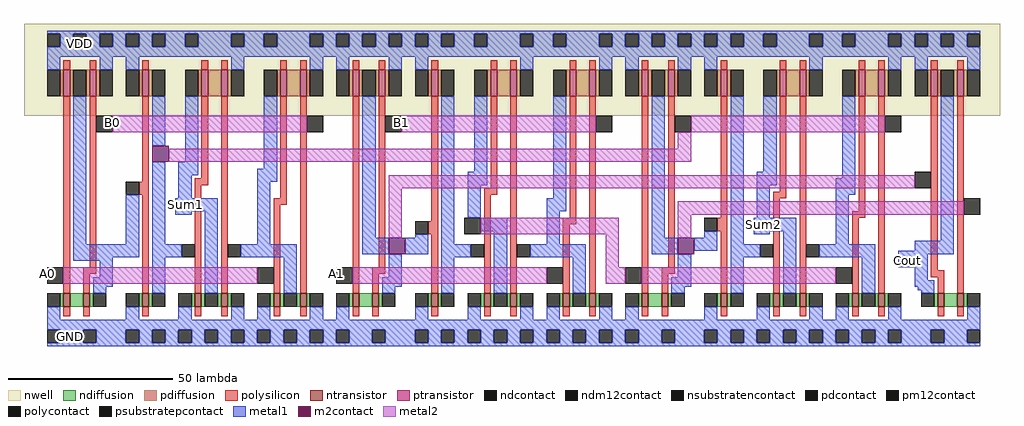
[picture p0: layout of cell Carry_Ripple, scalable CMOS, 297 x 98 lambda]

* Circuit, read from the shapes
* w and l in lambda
.subckt Carry_Ripple A0 A1 B0 B1 Cout GND Sum1 Sum2 VDD
M1 n1 A0 GND GND nfet w=4 l=2
M2 n2 B0 n1 GND nfet w=4 l=2
M3 n3 n2 GND GND nfet w=4 l=2
M4 Sum1 n3 GND GND nfet w=4 l=2
M5 GND n4 Sum1 GND nfet w=4 l=2
M6 n4 A0 GND GND nfet w=4 l=2
M7 GND B0 n4 GND nfet w=4 l=2
M8 n5 A1 GND GND nfet w=4 l=2
M9 n6 B1 n5 GND nfet w=4 l=2
M10 n7 n6 GND GND nfet w=4 l=2
M11 n8 n7 GND GND nfet w=4 l=2
M12 GND n9 n8 GND nfet w=4 l=2
M13 n9 A1 GND GND nfet w=4 l=2
M14 GND B1 n9 GND nfet w=4 l=2
M15 n10 n8 GND GND nfet w=4 l=2
M16 n11 n3 n10 GND nfet w=4 l=2
M17 n12 n11 GND GND nfet w=4 l=2
M18 Sum2 n12 GND GND nfet w=4 l=2
M19 GND n13 Sum2 GND nfet w=4 l=2
M20 n13 n8 GND GND nfet w=4 l=2
M21 GND n3 n13 GND nfet w=4 l=2
M22 n14 n6 Cout GND nfet w=4 l=2
M23 GND n11 n14 GND nfet w=4 l=2
M24 n2 A0 VDD VDD pfet w=8 l=2
M25 VDD B0 n2 VDD pfet w=8 l=2
M26 n3 n2 VDD VDD pfet w=8 l=2
M27 n15 n3 Sum1 VDD pfet w=8 l=2
M28 VDD n4 n15 VDD pfet w=8 l=2
M29 n16 A0 n4 VDD pfet w=8 l=2
M30 VDD B0 n16 VDD pfet w=8 l=2
M31 n6 A1 VDD VDD pfet w=8 l=2
M32 VDD B1 n6 VDD pfet w=8 l=2
M33 n7 n6 VDD VDD pfet w=8 l=2
M34 n17 n7 n8 VDD pfet w=8 l=2
M35 VDD n9 n17 VDD pfet w=8 l=2
M36 n18 A1 n9 VDD pfet w=8 l=2
M37 VDD B1 n18 VDD pfet w=8 l=2
M38 n11 n8 VDD VDD pfet w=8 l=2
M39 VDD n3 n11 VDD pfet w=8 l=2
M40 n12 n11 VDD VDD pfet w=8 l=2
M41 n19 n12 Sum2 VDD pfet w=8 l=2
M42 VDD n13 n19 VDD pfet w=8 l=2
M43 n20 n8 n13 VDD pfet w=8 l=2
M44 VDD n3 n20 VDD pfet w=8 l=2
M45 Cout n6 VDD VDD pfet w=8 l=2
M46 VDD n11 Cout VDD pfet w=8 l=2
.ends

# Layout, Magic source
magic
tech scmos
<< nwell >>
rect -5 73 292 101
<< ntransistor >>
rect 7 15 9 19
rect 13 15 15 19
rect 31 15 33 19
rect 47 15 49 19
rect 55 15 57 19
rect 71 15 73 19
rect 79 15 81 19
rect 95 15 97 19
rect 101 15 103 19
rect 119 15 121 19
rect 135 15 137 19
rect 143 15 145 19
rect 159 15 161 19
rect 167 15 169 19
rect 183 15 185 19
rect 189 15 191 19
rect 207 15 209 19
rect 223 15 225 19
rect 231 15 233 19
rect 247 15 249 19
rect 255 15 257 19
rect 273 15 275 19
rect 279 15 281 19
<< ptransistor >>
rect 7 79 9 87
rect 15 79 17 87
rect 31 79 33 87
rect 49 79 51 87
rect 55 79 57 87
rect 73 79 75 87
rect 79 79 81 87
rect 95 79 97 87
rect 103 79 105 87
rect 119 79 121 87
rect 137 79 139 87
rect 143 79 145 87
rect 161 79 163 87
rect 167 79 169 87
rect 183 79 185 87
rect 191 79 193 87
rect 207 79 209 87
rect 225 79 227 87
rect 231 79 233 87
rect 249 79 251 87
rect 255 79 257 87
rect 271 79 273 87
rect 279 79 281 87
<< ndiffusion >>
rect 6 15 7 19
rect 9 15 13 19
rect 15 15 16 19
rect 30 15 31 19
rect 33 15 34 19
rect 46 15 47 19
rect 49 15 50 19
rect 54 15 55 19
rect 57 15 58 19
rect 70 15 71 19
rect 73 15 74 19
rect 78 15 79 19
rect 81 15 82 19
rect 94 15 95 19
rect 97 15 101 19
rect 103 15 104 19
rect 118 15 119 19
rect 121 15 122 19
rect 134 15 135 19
rect 137 15 138 19
rect 142 15 143 19
rect 145 15 146 19
rect 158 15 159 19
rect 161 15 162 19
rect 166 15 167 19
rect 169 15 170 19
rect 182 15 183 19
rect 185 15 189 19
rect 191 15 192 19
rect 206 15 207 19
rect 209 15 210 19
rect 222 15 223 19
rect 225 15 226 19
rect 230 15 231 19
rect 233 15 234 19
rect 246 15 247 19
rect 249 15 250 19
rect 254 15 255 19
rect 257 15 258 19
rect 272 15 273 19
rect 275 15 279 19
rect 281 15 282 19
<< pdiffusion >>
rect 6 79 7 87
rect 9 79 10 87
rect 14 79 15 87
rect 17 79 18 87
rect 30 79 31 87
rect 33 79 34 87
rect 48 79 49 87
rect 51 79 55 87
rect 57 79 58 87
rect 72 79 73 87
rect 75 79 79 87
rect 81 79 82 87
rect 94 79 95 87
rect 97 79 98 87
rect 102 79 103 87
rect 105 79 106 87
rect 118 79 119 87
rect 121 79 122 87
rect 136 79 137 87
rect 139 79 143 87
rect 145 79 146 87
rect 160 79 161 87
rect 163 79 167 87
rect 169 79 170 87
rect 182 79 183 87
rect 185 79 186 87
rect 190 79 191 87
rect 193 79 194 87
rect 206 79 207 87
rect 209 79 210 87
rect 224 79 225 87
rect 227 79 231 87
rect 233 79 234 87
rect 248 79 249 87
rect 251 79 255 87
rect 257 79 258 87
rect 270 79 271 87
rect 273 79 274 87
rect 278 79 279 87
rect 281 79 282 87
<< ndcontact >>
rect 2 15 6 19
rect 16 15 20 19
rect 26 15 30 19
rect 34 15 38 19
rect 42 15 46 19
rect 50 15 54 19
rect 58 15 62 19
rect 66 15 70 19
rect 74 15 78 19
rect 82 15 86 19
rect 90 15 94 19
rect 104 15 108 19
rect 114 15 118 19
rect 122 15 126 19
rect 130 15 134 19
rect 138 15 142 19
rect 146 15 150 19
rect 154 15 158 19
rect 162 15 166 19
rect 170 15 174 19
rect 178 15 182 19
rect 192 15 196 19
rect 202 15 206 19
rect 210 15 214 19
rect 218 15 222 19
rect 226 15 230 19
rect 234 15 238 19
rect 242 15 246 19
rect 250 15 254 19
rect 258 15 262 19
rect 268 15 272 19
rect 282 15 286 19
<< pdcontact >>
rect 2 79 6 87
rect 10 79 14 87
rect 18 79 22 87
rect 26 79 30 87
rect 34 79 38 87
rect 44 79 48 87
rect 58 79 62 87
rect 68 79 72 87
rect 82 79 86 87
rect 90 79 94 87
rect 98 79 102 87
rect 106 79 110 87
rect 114 79 118 87
rect 122 79 126 87
rect 132 79 136 87
rect 146 79 150 87
rect 156 79 160 87
rect 170 79 174 87
rect 178 79 182 87
rect 186 79 190 87
rect 194 79 198 87
rect 202 79 206 87
rect 210 79 214 87
rect 220 79 224 87
rect 234 79 238 87
rect 244 79 248 87
rect 258 79 262 87
rect 266 79 270 87
rect 274 79 278 87
rect 282 79 286 87
<< psubstratepcontact >>
rect 2 4 6 8
rect 13 4 17 8
rect 26 4 30 8
rect 34 4 38 8
rect 42 4 46 8
rect 50 4 54 8
rect 58 4 62 8
rect 66 4 70 8
rect 74 4 78 8
rect 82 4 86 8
rect 90 4 94 8
rect 101 4 105 8
rect 114 4 118 8
rect 122 4 126 8
rect 130 4 134 8
rect 138 4 142 8
rect 146 4 150 8
rect 154 4 158 8
rect 162 4 166 8
rect 170 4 174 8
rect 178 4 182 8
rect 189 4 193 8
rect 202 4 206 8
rect 210 4 214 8
rect 218 4 222 8
rect 226 4 230 8
rect 234 4 238 8
rect 242 4 246 8
rect 250 4 254 8
rect 258 4 262 8
rect 271 4 275 8
rect 282 4 286 8
<< nsubstratencontact >>
rect 2 94 6 98
rect 10 94 14 98
rect 18 94 22 98
rect 26 94 30 98
rect 34 94 38 98
rect 44 94 48 98
rect 58 94 62 98
rect 68 94 72 98
rect 82 94 86 98
rect 90 94 94 98
rect 98 94 102 98
rect 106 94 110 98
rect 114 94 118 98
rect 122 94 126 98
rect 132 94 136 98
rect 146 94 150 98
rect 156 94 160 98
rect 170 94 174 98
rect 178 94 182 98
rect 186 94 190 98
rect 194 94 198 98
rect 202 94 206 98
rect 210 94 214 98
rect 220 94 224 98
rect 234 94 238 98
rect 244 94 248 98
rect 258 94 262 98
rect 266 94 270 98
rect 274 94 278 98
rect 282 94 286 98
<< polysilicon >>
rect 7 87 9 90
rect 15 87 17 90
rect 31 87 33 90
rect 49 87 51 90
rect 55 87 57 90
rect 73 87 75 90
rect 79 87 81 90
rect 95 87 97 90
rect 103 87 105 90
rect 119 87 121 90
rect 137 87 139 90
rect 143 87 145 90
rect 161 87 163 90
rect 167 87 169 90
rect 183 87 185 90
rect 191 87 193 90
rect 207 87 209 90
rect 225 87 227 90
rect 231 87 233 90
rect 249 87 251 90
rect 255 87 257 90
rect 271 87 273 90
rect 279 87 281 90
rect 7 19 9 79
rect 15 27 17 79
rect 31 53 33 79
rect 49 54 51 79
rect 30 49 33 53
rect 13 25 17 27
rect 13 19 15 25
rect 31 19 33 49
rect 47 52 51 54
rect 47 19 49 52
rect 55 19 57 79
rect 73 48 75 79
rect 71 46 75 48
rect 71 19 73 46
rect 79 19 81 79
rect 95 19 97 79
rect 103 27 105 79
rect 119 41 121 79
rect 137 51 139 79
rect 135 49 139 51
rect 118 37 121 41
rect 101 25 105 27
rect 101 19 103 25
rect 119 19 121 37
rect 135 19 137 49
rect 143 19 145 79
rect 161 42 163 79
rect 159 40 163 42
rect 159 19 161 40
rect 167 19 169 79
rect 183 19 185 79
rect 191 27 193 79
rect 207 42 209 79
rect 225 50 227 79
rect 206 38 209 42
rect 189 25 193 27
rect 189 19 191 25
rect 207 19 209 38
rect 223 48 227 50
rect 223 19 225 48
rect 231 19 233 79
rect 249 44 251 79
rect 247 42 251 44
rect 247 19 249 42
rect 255 19 257 79
rect 271 26 273 79
rect 271 24 275 26
rect 273 19 275 24
rect 279 19 281 79
rect 7 12 9 15
rect 13 12 15 15
rect 31 12 33 15
rect 47 12 49 15
rect 55 12 57 15
rect 71 12 73 15
rect 79 12 81 15
rect 95 12 97 15
rect 101 12 103 15
rect 119 12 121 15
rect 135 12 137 15
rect 143 12 145 15
rect 159 12 161 15
rect 167 12 169 15
rect 183 12 185 15
rect 189 12 191 15
rect 207 12 209 15
rect 223 12 225 15
rect 231 12 233 15
rect 247 12 249 15
rect 255 12 257 15
rect 273 12 275 15
rect 279 12 281 15
<< polycontact >>
rect 26 49 30 53
rect 43 30 47 34
rect 57 30 61 34
rect 114 37 118 41
rect 131 30 135 34
rect 145 30 149 34
rect 202 38 206 42
rect 219 30 223 34
rect 233 30 237 34
<< metal1 >>
rect 2 98 286 99
rect 6 94 10 98
rect 14 94 18 98
rect 22 94 26 98
rect 30 94 34 98
rect 38 94 44 98
rect 48 94 58 98
rect 62 94 68 98
rect 72 94 82 98
rect 86 94 90 98
rect 94 94 98 98
rect 102 94 106 98
rect 110 94 114 98
rect 118 94 122 98
rect 126 94 132 98
rect 136 94 146 98
rect 150 94 156 98
rect 160 94 170 98
rect 174 94 178 98
rect 182 94 186 98
rect 190 94 194 98
rect 198 94 202 98
rect 206 94 210 98
rect 214 94 220 98
rect 224 94 234 98
rect 238 94 244 98
rect 248 94 258 98
rect 262 94 266 98
rect 270 94 274 98
rect 278 94 282 98
rect 2 91 286 94
rect 2 87 6 91
rect 18 87 22 91
rect 26 87 30 91
rect 58 87 62 91
rect 82 87 86 91
rect 10 34 14 79
rect 34 64 38 79
rect 90 87 94 91
rect 106 87 110 91
rect 114 87 118 91
rect 146 87 150 91
rect 170 87 174 91
rect 44 59 48 79
rect 26 34 30 49
rect 10 30 30 34
rect 34 34 38 59
rect 42 55 48 59
rect 68 57 72 79
rect 42 48 46 55
rect 66 53 72 57
rect 41 44 54 48
rect 41 43 46 44
rect 34 30 43 34
rect 10 29 22 30
rect 18 24 22 29
rect 16 21 22 24
rect 16 19 20 21
rect 34 19 38 30
rect 50 19 54 44
rect 66 34 70 53
rect 98 36 102 79
rect 114 36 118 37
rect 61 30 78 34
rect 98 31 106 36
rect 111 31 118 36
rect 122 34 126 79
rect 178 87 182 91
rect 194 87 198 91
rect 202 87 206 91
rect 234 87 238 91
rect 258 87 262 91
rect 132 56 136 79
rect 130 52 136 56
rect 130 42 134 52
rect 156 48 160 79
rect 154 44 160 48
rect 134 38 142 42
rect 74 19 78 30
rect 106 24 110 31
rect 104 21 110 24
rect 122 30 131 34
rect 104 19 108 21
rect 122 19 126 30
rect 138 19 142 38
rect 154 34 158 44
rect 186 36 190 79
rect 202 36 206 38
rect 149 30 166 34
rect 186 31 194 36
rect 199 32 206 36
rect 210 34 214 79
rect 266 87 270 91
rect 282 87 286 91
rect 220 56 224 79
rect 218 52 224 56
rect 244 54 248 79
rect 218 42 222 52
rect 242 49 248 54
rect 217 38 230 42
rect 217 37 222 38
rect 162 19 166 30
rect 194 24 198 31
rect 192 21 198 24
rect 210 30 219 34
rect 192 19 196 21
rect 210 19 214 30
rect 226 19 230 38
rect 242 34 246 49
rect 274 35 278 79
rect 237 30 254 34
rect 266 32 278 35
rect 250 19 254 30
rect 261 31 278 32
rect 261 27 270 31
rect 266 23 270 27
rect 266 21 272 23
rect 267 20 272 21
rect 268 19 272 20
rect 2 11 6 15
rect 26 11 30 15
rect 42 11 46 15
rect 58 11 62 15
rect 66 11 70 15
rect 82 11 86 15
rect 90 11 94 15
rect 114 11 118 15
rect 130 11 134 15
rect 146 11 150 15
rect 154 11 158 15
rect 170 11 174 15
rect 178 11 182 15
rect 202 11 206 15
rect 218 11 222 15
rect 234 11 238 15
rect 242 11 246 15
rect 258 11 262 15
rect 282 11 286 15
rect 2 8 286 11
rect 6 4 13 8
rect 17 4 26 8
rect 30 4 34 8
rect 38 4 42 8
rect 46 4 50 8
rect 54 4 58 8
rect 62 4 66 8
rect 70 4 74 8
rect 78 4 82 8
rect 86 4 90 8
rect 94 4 101 8
rect 105 4 114 8
rect 118 4 122 8
rect 126 4 130 8
rect 134 4 138 8
rect 142 4 146 8
rect 150 4 154 8
rect 158 4 162 8
rect 166 4 170 8
rect 174 4 178 8
rect 182 4 189 8
rect 193 4 202 8
rect 206 4 210 8
rect 214 4 218 8
rect 222 4 226 8
rect 230 4 234 8
rect 238 4 242 8
rect 246 4 250 8
rect 254 4 258 8
rect 262 4 271 8
rect 275 4 282 8
rect 2 3 286 4
<< m2contact >>
rect 34 59 39 64
rect 106 31 111 36
rect 194 31 199 36
<< pm12contact >>
rect 17 68 22 73
rect 81 68 86 73
rect 2 22 7 27
rect 105 68 110 73
rect 169 68 174 73
rect 66 22 71 27
rect 90 22 95 27
rect 193 68 198 73
rect 257 68 262 73
rect 266 51 271 56
rect 154 22 159 27
rect 178 22 183 27
rect 281 43 286 48
rect 242 22 247 27
<< ndm12contact >>
rect 129 37 134 42
<< metal2 >>
rect 22 68 81 73
rect 110 68 169 73
rect 198 68 257 73
rect 194 63 198 68
rect 39 59 198 63
rect 106 51 266 55
rect 106 36 110 51
rect 194 43 281 47
rect 134 37 176 42
rect 172 27 176 37
rect 194 36 198 43
rect 7 22 66 27
rect 95 22 154 27
rect 172 22 178 27
rect 183 22 242 27
<< labels >>
rlabel nwell 2 91 22 99 1 VDD
rlabel metal1 9 6 9 6 1 GND
rlabel metal1 44 45 44 47 1 Sum1
rlabel metal1 264 29 264 29 1 Cout
rlabel metal1 220 39 220 41 1 Sum2
rlabel pm12contact 2 23 2 27 1 A0
rlabel metal2 22 69 22 73 1 B0
rlabel metal2 110 69 110 73 1 B1
rlabel pm12contact 90 23 90 27 1 A1
<< end >>
